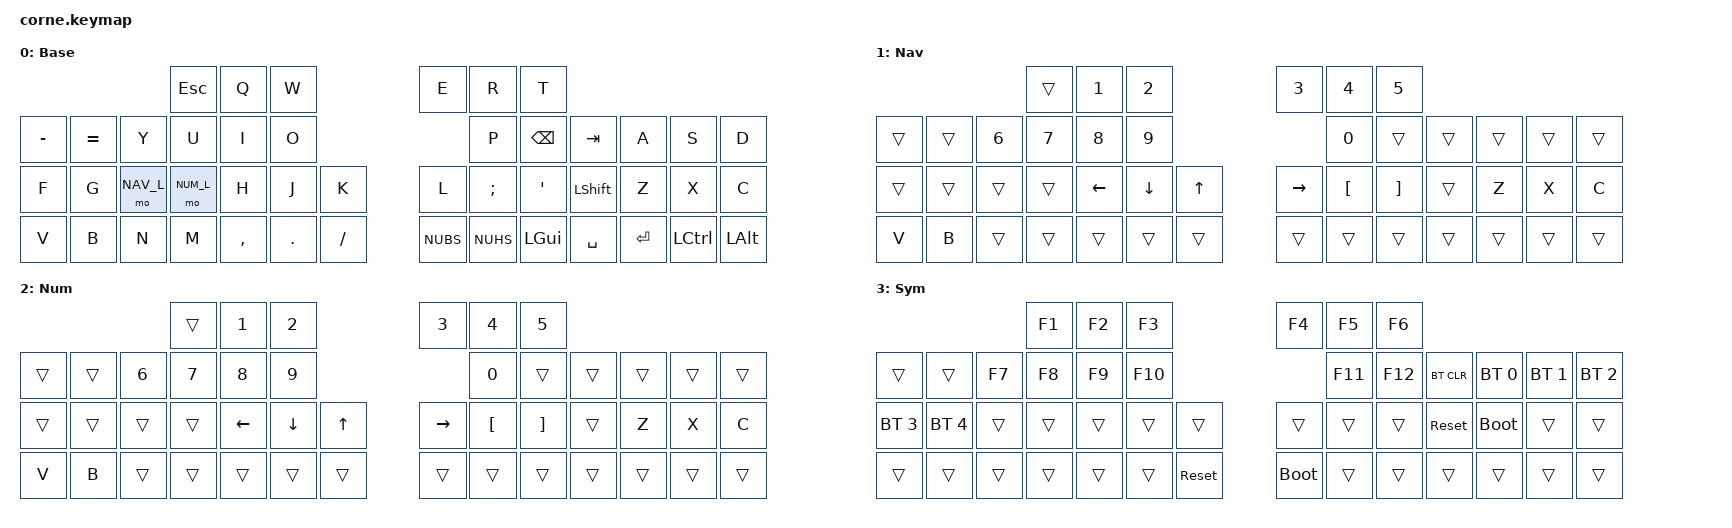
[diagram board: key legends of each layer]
#include <behaviors.dtsi>
#include <dt-bindings/zmk/keys.h>
#include <dt-bindings/zmk/bt.h>
#include <dt-bindings/zmk/outputs.h>

#define QWERTY_BASE 1

#define NAV_L 1
#define NUM_L 2
#define SYM_L 3

// Using layer taps on thumbs, having quick tap as well helps w/ repeating space/backspace
&lt { quick_tap_ms = <200>; };

#define BT(n) BT_SEL n

/ {

    cond_layers {
        compatible = "zmk,conditional-layers";
	tri {
	    if-layers = <NUM_L NAV_L>;
	    then-layer = <SYM_L>;
        };
    };

    keymap {
        compatible = "zmk,keymap";

        base_layer {
            label = "Base";
            bindings = <
// &kp ESC    &kp Q      &kp W      &kp E       &kp R          &kp T          &kp Y            &kp U          &kp I        &kp O      &kp P         &kp BACKSPACE &none &none
// &kp TAB    &kp A      &kp S      &kp D       &kp F          &kp G          &kp H            &kp J          &kp K        &kp L      &kp SEMI      &kp SQT &none &none
// &kp LSHFT  &kp Z      &kp X      &kp C       &kp V          &kp B          &kp N            &kp M          &kp COMMA    &kp DOT    &kp FSLH      &kp RET
// &kp LCTRL  &kp LGUI   &kp LALT   &mo NAV_L   &mo NAV_L              &kp SPACE                 &mo NUM_L      &kp NUBS     &kp MINUS  &kp EQUAL     &kp NUHS


 &kp ESC       &kp Q         &kp W         &kp E         &kp R         &kp T         &kp MINUS                 &kp EQUAL     &kp Y         &kp U         &kp I        &kp O        &kp P        &kp BACKSPACE
 &kp TAB       &kp A         &kp S         &kp D         &kp F         &kp G         &mo NAV_L                 &mo NUM_L     &kp H         &kp J         &kp K        &kp L        &kp SEMI     &kp SQT
 &kp LSHFT     &kp Z         &kp X         &kp C         &kp V         &kp B                                                 &kp N         &kp M         &kp COMMA    &kp DOT      &kp FSLH     &kp NUBS
                                                         &kp NUHS      &kp LGUI      &kp SPACE                 &kp RET       &kp LCTRL     &kp LALT
        
            >;
        };

        nav_layer {
            label = "Nav";
            bindings = <
// &trans    &kp N1      &kp N2        &kp N3          &kp N4    &kp N5    &kp N6      &kp N7      &kp N8    &kp N9       &kp N0      &trans
// &trans    &kp C_MUTE  &kp C_VOL_DN  &kp C_VOL_UP    &trans    &trans    &kp LEFT    &kp DOWN    &kp UP    &kp RIGHT    &kp LBKT    &kp RBKT
// &trans    &trans      &trans        &trans          &trans    &trans    &trans      &none       &trans    &trans       &trans      &trans
// &trans    &trans      &trans        &trans          &trans    &trans           &trans           &trans    &trans       &trans      &trans
  &trans       &kp N1       &kp N2        &kp N3         &kp N4        &kp N5        &trans                    &trans        &kp N6        &kp N7        &kp N8       &kp N9       &kp N0       &trans
  &trans       &trans       &trans        &trans         &trans        &trans        &trans                    &trans        &kp LEFT      &kp DOWN      &kp UP       &kp RIGHT    &kp LBKT     &kp RBKT
  &trans       &kp Z        &kp X         &kp C          &kp V         &kp B                                                 &trans        &trans        &trans       &trans       &trans       &trans
                                                         &trans        &trans        &trans                    &trans        &trans        &trans
            >;
        };

        num_layer {
            label = "Num";
            bindings = <
  &trans       &kp N1       &kp N2        &kp N3         &kp N4        &kp N5        &trans                    &trans        &kp N6        &kp N7        &kp N8       &kp N9       &kp N0       &trans
  &trans       &trans       &trans        &trans         &trans        &trans        &trans                    &trans        &kp LEFT      &kp DOWN      &kp UP       &kp RIGHT    &kp LBKT     &kp RBKT
  &trans       &kp Z        &kp X         &kp C          &kp V         &kp B                                                 &trans        &trans        &trans       &trans       &trans       &trans
                                                         &trans        &trans        &trans                    &trans        &trans        &trans
            >;
        };

        sym_layer {
            label = "Sym";
            bindings = <

  &kp F1      &kp F2        &kp F3         &kp F4       &kp F5        &kp F6        &trans                      &trans    &kp F7      &kp F8      &kp F9      &kp F10     &kp F11 &kp F12
  &bt BT_CLR  &bt BT_SEL 0  &bt BT_SEL 1  &bt BT_SEL 2  &bt BT_SEL 3  &bt BT_SEL 4  &trans                      &trans    &trans      &trans      &trans      &trans      &trans  &trans
  &sys_reset      &bootloader   &trans        &trans        &trans        &trans                                              &trans      &trans      &trans      &trans      &sys_reset  &bootloader
                                                        &trans        &trans        &trans                      &trans    &trans      &trans
            >;
        };


    };

    conditional_layers {
        compatible = "zmk,conditional-layers";

        bt {
            if-layers = <1 2>;
            then-layer = <3>;
        };
    };

};
